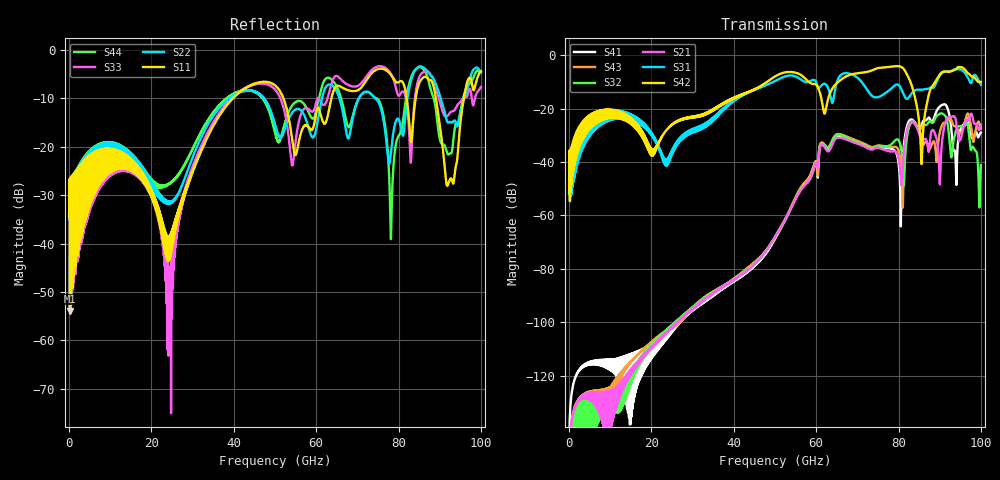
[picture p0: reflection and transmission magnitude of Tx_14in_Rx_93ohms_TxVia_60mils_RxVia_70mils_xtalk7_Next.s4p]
! Info: Touchstone file created by Circ.  Input file=Tx_14in_Rx_93ohms_TxVia_60mils_RxVia_70mils.circ
# Hz S RI R 50
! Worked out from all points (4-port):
!   10000 points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, 10 MHz to 100 GHz, reference 50 ohm
!   strongest paths, dB at 10 MHz, 25.01 GHz, 50.01 GHz, 75.01 GHz, 100 GHz:
!     S42: -51.5, -26.1, -8.0, -4.8, -10.0
!     S31: -52.3, -36.1, -9.7, -15.7, -11.1
!     S21: -167.4, -101.8, -68.0, -34.7, -26.0
!     S32: -170.5, -101.6, -68.0, -34.0, -41.2
!     S43: -154.7, -102.3, -68.1, -33.8, -27.5
!     S41: -150.5, -102.7, -68.7, -34.4, -29.0
!   lowest |S11| = -53.9 dB at 230 MHz (marker M1), VSWR 1.00, Z = 49.8 + j0.126 ohm
!   |S11| at or under -10 dB: start of sweep to 39.84 GHz; 52.03 GHz to 63.72 GHz (11.69 GHz wide, 20.2 % of centre); 89.08 GHz to 95.86 GHz (6.789 GHz wide, 7.34 % of centre)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
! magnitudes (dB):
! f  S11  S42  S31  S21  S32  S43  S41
! 10 MHz  -34.5  -51.5  -52.3  -167.4  -170.5  -154.7  -150.5
! 230 MHz  -53.9  -44.1  -44.1  -144.4  -147.1  -144.0  -134.1
! 24.35 GHz  -42.7  -26.9  -37.5  -102.6  -102.4  -102.7  -103.1
! 44.22 GHz  -7.3  -13.4  -13.4  -79.5  -79.3  -78.8  -80.1
! 65.21 GHz  -7.4  -10.2  -9.3  -31.0  -29.9  -29.5  -30.5
! 78.18 GHz  -5.2  -4.3  -12.6  -36.1  -33.5  -34.4  -35.0
! 100 GHz  -4.4  -10.0  -11.1  -26.0  -41.2  -27.5  -29.0
